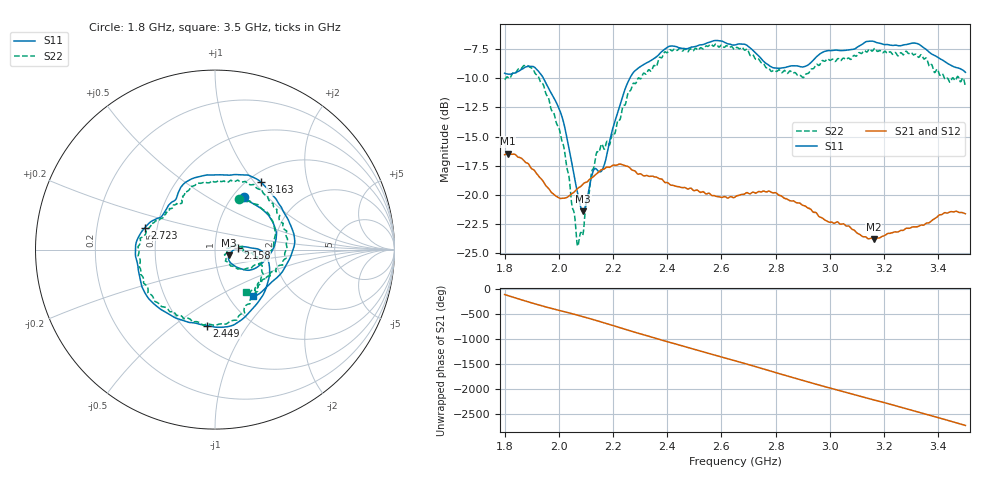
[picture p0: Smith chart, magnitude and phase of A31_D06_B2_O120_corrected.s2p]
! Created with skrf 1.9.0 (http://scikit-rf.org).
# Hz S RI R 50.0
!freq ReS11 ImS11 ReS21 ImS21 ReS12 ImS12 ReS22 ImS22
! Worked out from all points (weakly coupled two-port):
!   1601 points, 1.8 GHz to 3.5 GHz, reference 50 ohm
!   highest |S21| = -16.45 dB at 1.812 GHz (marker M1); lowest = -23.8 dB at 3.162 GHz (marker M2)
!   lowest |S11| = -21.4 dB at 2.09 GHz (marker M3), VSWR 1.19, Z = 58.4 - j3.81 ohm
!   |S11| at or under -10 dB: 1.944 GHz to 2.262 GHz (318.2 MHz wide, 15.1 % of centre)
!   |S22| runs from -24.4 to -7.0 dB; largest |S21 - S12| = 0.0025
!   S11 on the Smith chart (normalised r, x): 1.8 GHz: 1.12, +0.74; 2.158 GHz: 1.29, +0.02; 2.449 GHz: 0.64, -0.67; 2.723 GHz: 0.43, +0.13; 3.163 GHz: 1.15, +1.08; 3.5 GHz: 1.28, -0.76
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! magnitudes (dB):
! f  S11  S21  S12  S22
! 1.8 GHz  -9.6  -16.5  -16.6  -10.1
! 1.812 GHz  -9.6  -16.5  -16.5  -9.9
! 1.882 GHz  -9.0  -17.3  -17.3  -8.9
! 1.941 GHz  -9.9  -18.8  -18.8  -10.5
! 2.013 GHz  -13.4  -20.3  -20.3  -15.4
! 2.067 GHz  -19.6  -19.5  -19.5  -24.1
! 2.084 GHz  -21.2  -19.2  -19.2  -23.3
! 2.09 GHz  -21.4  -19.1  -19.1  -23.3
! 2.127 GHz  -17.9  -18.5  -18.4  -17.7
! 2.158 GHz  -17.9  -17.8  -17.8  -15.6
! 2.259 GHz  -10.1  -17.6  -17.6  -11.1
! 2.367 GHz  -8.0  -18.6  -18.5  -8.4
! 2.449 GHz  -7.4  -19.4  -19.3  -7.5
! 2.65 GHz  -7.1  -20.2  -20.2  -7.5
! 2.723 GHz  -7.8  -19.8  -19.8  -8.3
! 2.798 GHz  -9.1  -19.8  -19.8  -9.3
! 2.934 GHz  -8.6  -21.4  -21.3  -9.2
! 3.162 GHz  -6.8  -23.8  -23.7  -7.5
! 3.163 GHz  -6.8  -23.8  -23.7  -7.5
! 3.217 GHz  -7.1  -23.3  -23.3  -7.8
! 3.324 GHz  -7.0  -22.7  -22.7  -8.1
! 3.5 GHz  -9.5  -21.6  -21.6  -10.7
